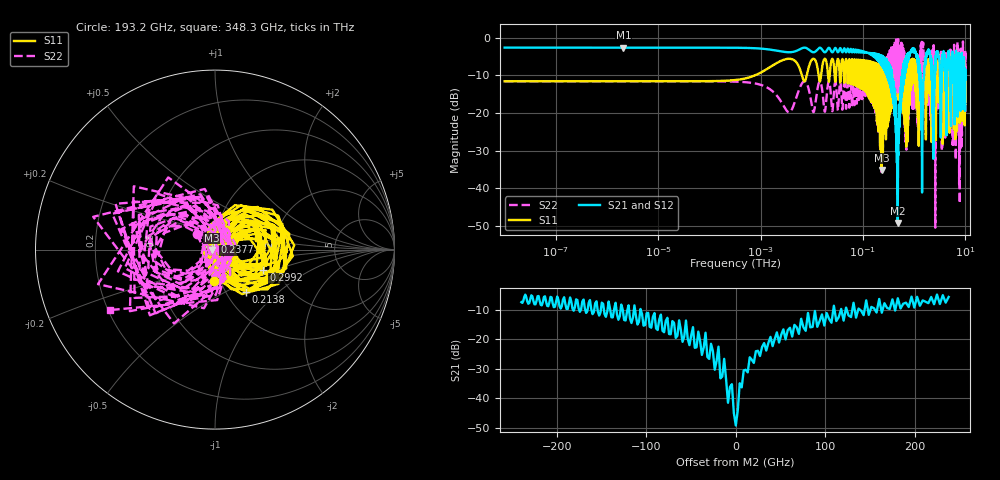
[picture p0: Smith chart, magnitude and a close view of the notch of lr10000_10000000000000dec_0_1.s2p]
! NPort=2 DATA=4501 NOISE=0 GROUPDELAY=0 COMPLEX_DATAFORMAT=RI
! NumOfBlock=1 NumOfParam=0
! .MODEL Smodel S TSTONEFILE=./link_rx/link_rx_s3/lr10000_10000000000000dec_0_1.s2p TYPE=S
!  -- The above .MODEL line can be used for the S element in the netlist.
# Hz S RI R  50
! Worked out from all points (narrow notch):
!   4501 points, 10 kHz to 10 THz, reference 50 ohm
!   highest |S21| = -2.65 dB at 2.099 MHz (marker M1); lowest = -49.3 dB at 476.4 GHz (marker M2)
!   notch at M2: 46.6 dB deep, 40 GHz wide at half that depth
!   lowest |S11| = -35.2 dB at 230.1 GHz (marker M3), VSWR 1.04, Z = 48.3 - j0.233 ohm
!   |S11| at or under -10 dB: 5.907 THz to 6.456 THz (549.1 GHz wide, 8.88 % of centre); 7.63 THz to 8.241 THz (611 GHz wide, 7.7 % of centre); 9.175 THz to end of sweep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
!   |S22| runs from -50.5 to -0.4 dB; largest |S21 - S12| = 1e-10
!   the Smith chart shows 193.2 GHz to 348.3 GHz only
!   S11 on the Smith chart (normalised r, x): 193.2 GHz: 0.94, -0.33; 213.8 GHz: 1.23, -0.63; 237.7 GHz: 0.99, +0.08; 299.2 GHz: 1.67, -0.42; 348.3 GHz: 1.62, +0.22
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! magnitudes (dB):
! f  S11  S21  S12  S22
! 10 kHz  -11.6  -2.7  -2.7  -11.6
! 316.2 kHz  -11.6  -2.7  -2.7  -11.6
! 2.099 MHz  -11.6  -2.7  -2.7  -11.6
! 10 MHz  -11.6  -2.7  -2.7  -11.6
! 316.2 MHz  -11.3  -2.7  -2.7  -11.7
! 10 GHz  -5.9  -3.8  -3.8  -18.1
! 193.2 GHz  -15.3  -5.7  -5.7  -17.6
! 213.8 GHz  -10.8  -5.6  -5.6  -12.1
! 230.1 GHz  -35.2  -7.4  -7.4  -35.7
! 237.7 GHz  -27.7  -7.6  -7.6  -28.6
! 299.2 GHz  -10.7  -6.6  -6.6  -5.6
! 316.2 GHz  -21.9  -11.4  -11.4  -19.9
! 348.3 GHz  -12.0  -8.2  -8.2  -3.4
! 476.4 GHz  -15.9  -49.3  -49.3  -8.5
! 608.1 GHz  -11.7  -7.6  -7.6  -2.8
! 871 GHz  -12.8  -3.5  -3.5  -13.6
! 1.153 THz  -8.5  -5.2  -5.2  -11.9
! 1.419 THz  -16.5  -35.0  -35.0  -7.3
! 1.888 THz  -5.8  -3.8  -3.8  -17.8
! 2.333 THz  -15.2  -17.2  -17.2  -4.3
! 2.844 THz  -6.2  -3.8  -3.8  -15.8
! 10 THz  -16.9  -11.2  -11.2  -19.9
